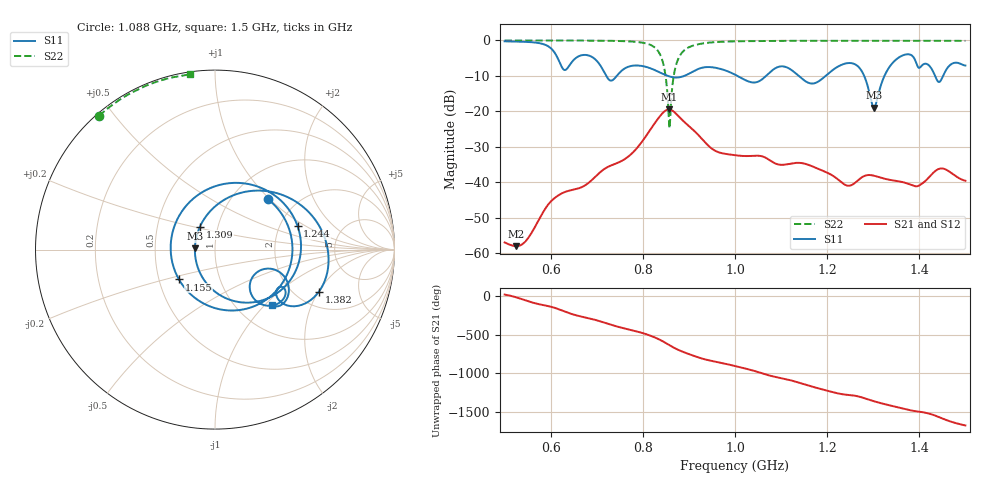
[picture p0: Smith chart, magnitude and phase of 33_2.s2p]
! TOUCHSTONE file generated by CST MICROWAVE STUDIO
! Date and time: Mon Nov 30 09:11:03 2020
! Project name: Scenario_1_Planar_Body_Tissue_Out_of_Line_v2.cst
! Parameters = {dy1=207.6; L_HA=400; Ltissue=700; MT=2.54; Rad_Dielectric=30; Rad_Lower=7.3; Rad_Upper=30; Wtissue=700; a_HA=580; a_WG=246; b_HA=500; b_WG=121; c_HA=0; c_WG=187; d_feed=85; dx1=346; h_feed=15; h_lower=18; h_upper=40; hfat=3; hgap=25; hmuscle=50; hskin=1.5}
! Header version: 2018
! Port assignment regex: !\s*Touchstone port\s*([0-9]+)\s*=\s*(CST MWS port|CST DS port)\s*([0-9]+|Zmin|Zmax)\s*\(\"(.*)\"\)(\s*mode\s*([0-9]+))?.*
! Touchstone port assignment:
! Touchstone port 1 = CST MWS port 1 ("")
! Touchstone port 2 = CST MWS port 2 ("")
# GHz S DB R 50
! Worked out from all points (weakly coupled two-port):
!   1003 points, 500 MHz to 1.5 GHz, reference 50 ohm
!   highest |S21| = -19.45 dB at 857 MHz (marker M1); lowest = -58.0 dB at 525 MHz (marker M2)
!   lowest |S11| = -19.0 dB at 1.302 GHz (marker M3), VSWR 1.25, Z = 39.9 + j0.663 ohm
!   |S11| at or under -10 dB: 1.005 GHz to 1.067 GHz (62.18 MHz wide, 6 % of centre); 1.138 GHz to 1.197 GHz (58.36 MHz wide, 5 % of centre); 1.28 GHz to 1.324 GHz (44.01 MHz wide, 3.38 % of centre)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
!   |S22| runs from -24.8 to 0.0 dB; largest |S21 - S12| = 5.9e-06
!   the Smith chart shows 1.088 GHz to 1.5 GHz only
!   S11 on the Smith chart (normalised r, x): 1.088 GHz: 1.46, +0.98; 1.155 GHz: 0.63, -0.23; 1.244 GHz: 2.50, +0.84; 1.309 GHz: 0.82, +0.22; 1.382 GHz: 2.62, -2.02; 1.5 GHz: 1.44, -1.10
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0.5  -0.26 -121.8  -56.95 16.3  -56.95 16.3  -0.01 151.1
0.525  -0.32 -132.5  -58.00 -19.3  -58.01 -19.2  -0.01 149.5
0.667  -4.18 158.3  -41.38 91.2  -41.39 91.2  -0.04 138.4
0.718  -9.40 28.3  -36.11 10.2  -36.11 10.2  -0.09 132.6
0.742  -10.22 -97.6  -34.69 -33.4  -34.69 -33.4  -0.14 129.0
0.772  -7.28 174.1  -32.35 -78.1  -32.35 -78.1  -0.28 122.7
0.834  -8.85 43.1  -21.88 161.0  -21.88 161.0  -3.18 83.7
0.857  -10.12 -14.1  -19.45 85.3  -19.45 85.3  -23.62 -17.5
0.876  -10.44 -68.0  -21.18 24.4  -21.18 24.4  -5.46 -166.8
0.912  -8.54 175.3  -25.56 -58.0  -25.56 -58.0  -1.34 161.5
0.942  -7.50 80.7  -29.64 -110.8  -29.64 -110.8  -0.65 151.2
1  -9.65 -55.5  -32.36 173.7  -32.36 173.7  -0.26 140.3
1.05  -11.64 171.7  -32.50 96.2  -32.50 96.2  -0.18 134.5
1.088  -7.80 43.3  -34.71 32.8  -34.71 32.8  -0.13 130.9
1.155  -11.67 -140.4  -34.89 -71.0  -34.89 -71.0  -0.10 125.2
1.167  -12.16 -174.2  -35.46 -91.8  -35.46 -91.8  -0.10 124.2
1.244  -6.41 15.8  -40.94 161.7  -40.94 161.7  -0.09 118.3
1.302  -19.00 175.8  -38.15 78.0  -38.15 78.0  -0.08 114.0
1.309  -16.29 123.0  -38.41 66.0  -38.41 66.0  -0.08 113.5
1.334  -7.70 52.9  -39.26 28.1  -39.26 28.1  -0.08 111.6
1.382  -4.09 -22.1  -40.73 -39.8  -40.72 -39.8  -0.09 107.8
1.5  -7.08 -43.8  -39.56 126.5  -39.56 126.5  -0.12 98.0
